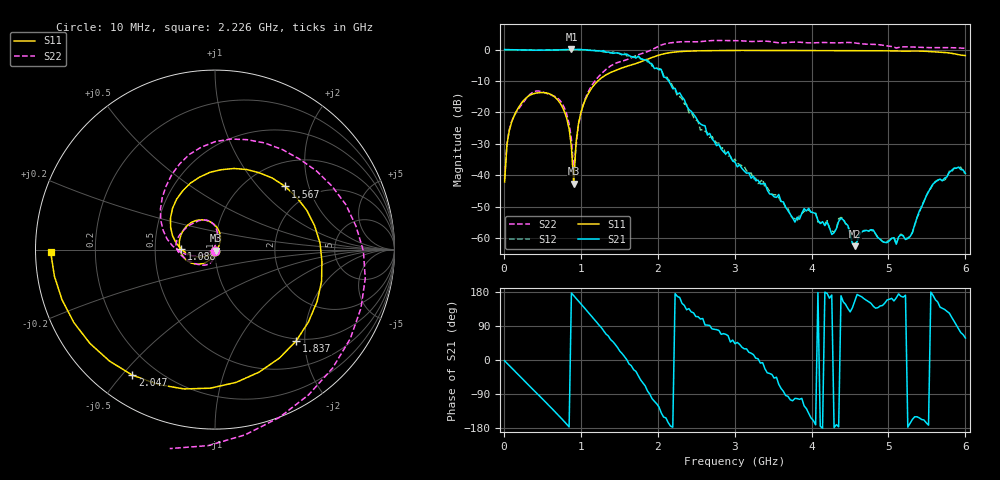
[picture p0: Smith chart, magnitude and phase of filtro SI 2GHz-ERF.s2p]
!Keysight Technologies,N5224B,MY57181201,A.12.70.07
!Date: Wednesday, October 26, 2022 13:47:50
!Correction: S11(Full 2 Port(1,2))
!S21(Full 2 Port(1,2))
!S12(Full 2 Port(1,2))
!S22(Full 2 Port(1,2))
!S2P File: Measurements: S11, S21, S12, S22:
# Hz S  dB  R 50
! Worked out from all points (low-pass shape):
!   201 points, 10 MHz to 6 GHz, reference 50 ohm
!   highest |S21| = 0.04 dB at 878.5 MHz (marker M1); lowest = -62.6 dB at 4.562 GHz (marker M2)
!   |S21| within 3 dB of the highest: start of sweep to 1.79 GHz
!   lowest |S11| = -42.7 dB at 908.5 MHz (marker M3), VSWR 1.01, Z = 50.4 - j0.618 ohm
!   |S11| at or under -10 dB: start of sweep to 1.223 GHz
!   |S22| runs from -41.3 to 2.9 dB; largest |S21 - S12| = 0.084
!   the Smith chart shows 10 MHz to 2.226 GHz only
!   S11 on the Smith chart (normalised r, x): 10 MHz: 1.00, -0.02; 1.088 GHz: 0.68, +0.00; 1.567 GHz: 1.46, +1.42; 1.837 GHz: 0.96, -1.82; 2.047 GHz: 0.11, -0.53; 2.226 GHz: 0.04, -0.01
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1e7  -42.14 -89.2  -0.00 -2.1  -0.01 -2.1  -41.30 -85.9
9.985e7  -23.24 -118.8  -0.03 -20.7  -0.03 -20.6  -22.98 -105.6
3.3945e8  -14.51 -172.5  -0.14 -69.8  -0.16 -69.6  -14.26 -171.4
6.9885e8  -15.99 100.5  -0.10 -143.6  -0.06 -143.6  -15.45 104.5
8.7855e8  -31.05 41.5  0.04 176.7  0.03 176.8  -28.59 77.4
9.085e8  -42.67 -56.4  0.04 169.9  0.03 169.9  -38.25 117.3
1.0283e9  -17.92 -163.1  -0.04 142.0  -0.04 141.8  -17.80 -164.2
1.0882e9  -14.47 179.0  -0.20 127.4  -0.06 128.2  -13.92 -178.0
1.29785e9  -8.55 118.8  -0.33 76.7  -0.78 76.6  -7.00 127.5
1.5674e9  -5.58 42.0  -1.57 9.3  -1.19 8.9  -3.45 56.1
1.83695e9  -3.34 -48.4  -3.28 -68.1  -2.94 -71.1  -0.89 -33.4
2.01665e9  -1.77 -113.0  -6.44 -124.0  -6.07 -122.3  1.12 -102.8
2.0466e9  -1.54 -123.4  -6.34 -139.7  -6.21 -141.9  1.44 -113.7
2.2263e9  -0.77 -179.1  -12.36 175.2  -12.80 168.1  2.32 -173.7
2.61565e9  -0.36 97.4  -24.26 92.4  -26.01 105.4  2.68 101.6
3.005e9  -0.27 40.1  -35.82 43.1  -34.87 51.7  2.86 39.9
3.4243e9  -0.28 -9.8  -44.73 -33.8  -43.89 -29.8  2.66 -13.4
4.0233e9  -0.31 -74.7  -51.92 -159.6  -51.91 -158.5  2.15 -83.8
4.5624e9  -0.35 -132.7  -62.60 155.8  -61.87 154.5  2.13 -144.0
5.01165e9  -0.39 178.2  -60.90 160.5  -60.71 160.5  1.09 166.7
5.5807e9  -0.70 113.8  -42.76 170.1  -42.79 169.4  0.62 106.0
6e9  -1.89 69.0  -39.46 58.0  -39.49 62.0  0.40 58.7
